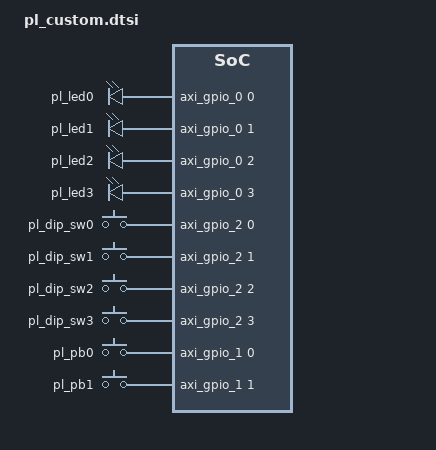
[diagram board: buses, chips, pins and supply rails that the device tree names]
/ {
	/* Add Board specific PL gpio-line-names for LEDs, push buttons, and DIP switches */
	amba_pl {
		gpio@a6010000 {
			gpio-line-names = "pl_led0", "pl_led1", "pl_led2", "pl_led3";
		};

		gpio@a6020000 {
			gpio-line-names = "pl_pb0", "pl_pb1";
		};

		gpio@a6030000 {
			gpio-line-names = "pl_dip_sw0", "pl_dip_sw1",
					  "pl_dip_sw2", "pl_dip_sw3";
		};

		leds {
			compatible = "gpio-leds";

			pl_led0: led-0 {
				label = "pl_led0";
				gpios = <&axi_gpio_0 0 0>;
				default-state = "off";
			};

			pl_led1: led-1 {
				label = "pl_led1";
				gpios = <&axi_gpio_0 1 0>;
				default-state = "off";
			};

			pl_led2: led-2 {
				label = "pl_led2";
				gpios = <&axi_gpio_0 2 0>;
				default-state = "off";
			};

			pl_led3: led-3 {
				label = "pl_led3";
				gpios = <&axi_gpio_0 3 0>;
				default-state = "off";
			};
		};

		/*
		 * AXI GPIO inputs in this design do not expose interrupts, so use
		 * the polled variant for DIP switches and push buttons.
		 */
		pl_gpio_keys: gpio-keys {
			compatible = "gpio-keys-polled";
			label = "pl-gpio-keys";
			poll-interval = <100>;

			pl_dip_sw0 {
				label = "pl_dip_sw0";
				gpios = <&axi_gpio_2 0 0>;
				linux,code = <0x100>;
			};

			pl_dip_sw1 {
				label = "pl_dip_sw1";
				gpios = <&axi_gpio_2 1 0>;
				linux,code = <0x101>;
			};

			pl_dip_sw2 {
				label = "pl_dip_sw2";
				gpios = <&axi_gpio_2 2 0>;
				linux,code = <0x102>;
			};

			pl_dip_sw3 {
				label = "pl_dip_sw3";
				gpios = <&axi_gpio_2 3 0>;
				linux,code = <0x103>;
			};

			pl_pb0 {
				label = "pl_pb0";
				gpios = <&axi_gpio_1 0 0>;
				linux,code = <0x104>;
				debounce-interval = <10>;
			};

			pl_pb1 {
				label = "pl_pb1";
				gpios = <&axi_gpio_1 1 0>;
				linux,code = <0x105>;
				debounce-interval = <10>;
			};
		};
	};
};
